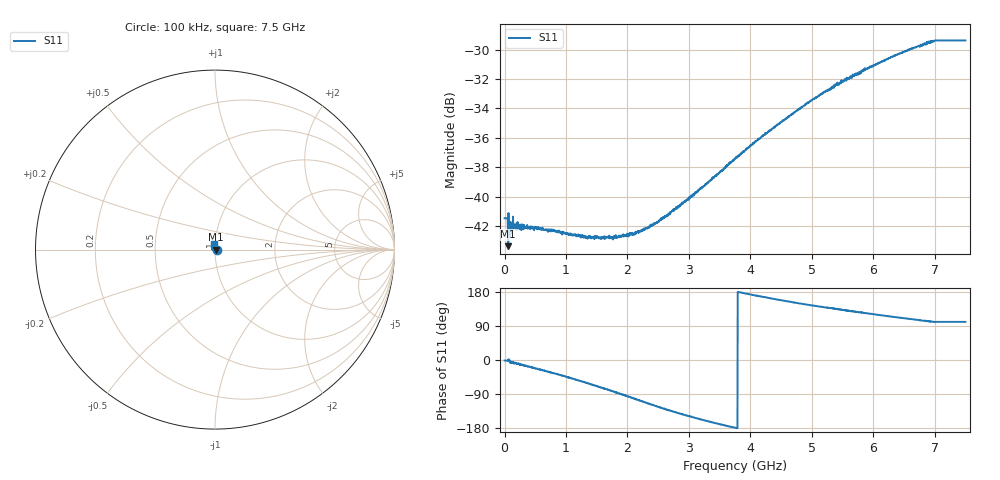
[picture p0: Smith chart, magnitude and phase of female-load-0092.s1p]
! This is a Touchstone .s1p format file
! It should be saved with .s1p extension
! HEWLETT PACKARD,8720D,0,7.74
! Date = 20 Mar 2018
! Time = 22:32:29
! S11 measured = FALSE
! S21 measured = FALSE
! S12 measured = FALSE
! S22 measured = TRUE
! Start frequency = 0.050000000 GHz
! Centre frequency  = 3.524999936 GHz
! Stop frequency  = 7.000000000 GHz
! IF bandwidth = 300 Hz
! Smoothing = OFF
! Smoothing aperture = 1.000000 %
! Averaging = OFF
! Averaging factor = 16
! Source power = On
! Source power = Auto mode
! Output power level = 5.000000 dBm
! Retrace power = Off
! Testset switching = Continuous
! Number of sweeps for test set switching (0=hold, 1=continuous,2-999 = number of sweeps) = 1
! Step sweep = On (check)
! List frequency sweep = Off (check)
! IFBW setting for a list-frequency table in swept list mode = Disabled (Check)
! Power setting for a list-frequency table in swept list mode = Disabled (Check)
! Measurement mode = Chop A and B
! Port extensions = OFF
! Port extension 1 = 0.000000 ps
! Port extension 2 = 73.250003 ps
! Points  = 1601
! Calibration kit = 3.5 mm D
! Calibration = S22 1-port
! Power = 5.000000 dBm
! Frequency magS22 angS22
! Magnitudes are in log form
! Angles are in degrees
# MHz S DB R 50
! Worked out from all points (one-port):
!   1603 points, 100 kHz to 7.5 GHz, reference 50 ohm
!   lowest |S11| = -43.4 dB at 58.69 MHz (marker M1), VSWR 1.01, Z = 50.7 + j0.014 ohm
!   |S11| at or under -10 dB: start of sweep to end of sweep
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0.1  -41.47 -1.5
58.6875  -43.38 1.2
89.09375  -41.80 -1.6
119.5  -42.20 -8.3
141.2188  -41.97 -5.9
167.2812  -41.96 -7.5
271.5312  -42.04 -12.6
519.125  -42.20 -22.8
940.4688  -42.39 -41.4
1344.438  -42.79 -61.1
1744.062  -42.74 -81.9
1878.719  -42.69 -89.6
2104.594  -42.56 -101.9
2330.469  -42.09 -114.6
2491.188  -41.75 -122.9
2812.625  -40.81 -139.5
3273.062  -39.19 -160.2
3750.875  -37.43 -178.6
4107.062  -36.18 169.4
4689.125  -34.37 152.5
5171.281  -32.95 139.9
5327.656  -32.60 136.4
5379.781  -32.47 135.6
5627.375  -31.82 129.4
6257.219  -30.57 115.4
6565.625  -30.02 108.9
6995.656  -29.38 100.1
7500  -29.37 100.6
